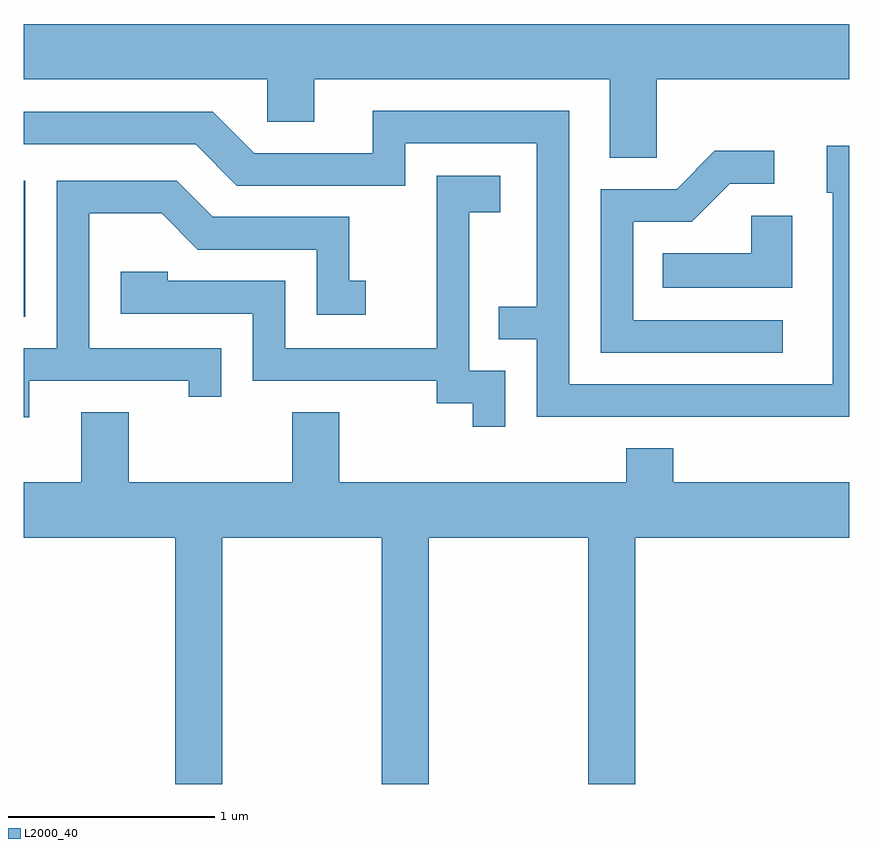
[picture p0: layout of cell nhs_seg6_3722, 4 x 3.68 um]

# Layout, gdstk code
import gdstk
lib = gdstk.Library(unit=1e-6, precision=1e-09)
def R(c, l, rs):  # rectangles x0, y0, x1, y1
    for r in rs: c.add(gdstk.rectangle(r[:2], r[2:], *l))
def P(c, l, *ps):  # polygons
    for p in ps: c.add(gdstk.Polygon(p, *l))
L2000_40 = (2000, 40)

nhs_seg6_3722 = lib.new_cell('nhs_seg6_3722')
R(nhs_seg6_3722, L2000_40, [(297.611,1564.426,297.619,1565.084)])
P(nhs_seg6_3722, L2000_40, [(300.679,1565.576),(301.611,1565.576),(301.611,1565.844),(297.611,1565.844),(297.611,1565.576),(298.791,1565.576),(298.791,1565.371),(299.019,1565.371),(299.019,1565.576),(300.451,1565.576),(300.451,1565.196),(300.679,1565.196)],
  [(301.611,1565.254),(301.501,1565.254),(301.501,1565.026),(301.531,1565.026),(301.531,1564.099),(300.254,1564.099),(300.254,1565.424),(299.301,1565.424),(299.301,1565.219),(298.727,1565.219),(298.527,1565.419),(297.611,1565.419),(297.611,1565.261),(298.444,1565.261),(298.644,1565.061),(299.459,1565.061),(299.459,1565.266),(300.096,1565.266),(300.096,1564.474),(299.913,1564.474),(299.913,1564.316),(300.096,1564.316),(300.096,1563.941),(301.611,1563.941)],
  [(301.288,1564.409),(300.564,1564.409),(300.564,1564.886),(300.847,1564.886),(301.032,1565.071),(301.248,1565.071),(301.248,1565.229),(300.959,1565.229),(300.774,1565.044),(300.406,1565.044),(300.406,1564.251),(301.288,1564.251)],
  [(299.944,1564.164),(299.769,1564.164),(299.769,1564.931),(299.919,1564.931),(299.919,1565.109),(299.611,1565.109),(299.611,1564.274),(298.879,1564.274),(298.879,1564.599),(298.309,1564.599),(298.309,1564.644),(298.081,1564.644),(298.081,1564.441),(298.721,1564.441),(298.721,1564.116),(299.611,1564.116),(299.611,1564.006),(299.786,1564.006),(299.786,1563.893),(299.944,1563.893)],
  [(297.639,1564.116),(298.411,1564.116),(298.411,1564.038),(298.569,1564.038),(298.569,1564.274),(297.929,1564.274),(297.929,1564.926),(298.279,1564.926),(298.454,1564.751),(299.031,1564.751),(299.031,1564.436),(299.268,1564.436),(299.268,1564.599),(299.189,1564.599),(299.189,1564.909),(298.527,1564.909),(298.352,1565.084),(297.771,1565.084),(297.771,1564.274),(297.611,1564.274),(297.611,1563.938),(297.639,1563.938)],
  [(301.334,1564.914),(301.136,1564.914),(301.136,1564.734),(300.708,1564.734),(300.708,1564.566),(301.334,1564.566)],
  [(298.574,1563.356),(299.346,1563.356),(299.346,1562.162),(299.574,1562.162),(299.574,1563.356),(300.346,1563.356),(300.346,1562.162),(300.574,1562.162),(300.574,1563.356),(301.611,1563.356),(301.611,1563.624),(300.759,1563.624),(300.759,1563.789),(300.531,1563.789),(300.531,1563.624),(299.139,1563.624),(299.139,1563.964),(298.911,1563.964),(298.911,1563.624),(298.119,1563.624),(298.119,1563.964),(297.891,1563.964),(297.891,1563.624),(297.611,1563.624),(297.611,1563.356),(298.346,1563.356),(298.346,1562.162),(298.574,1562.162)])

lib.write_gds('nhs_seg6_3722.gds')
